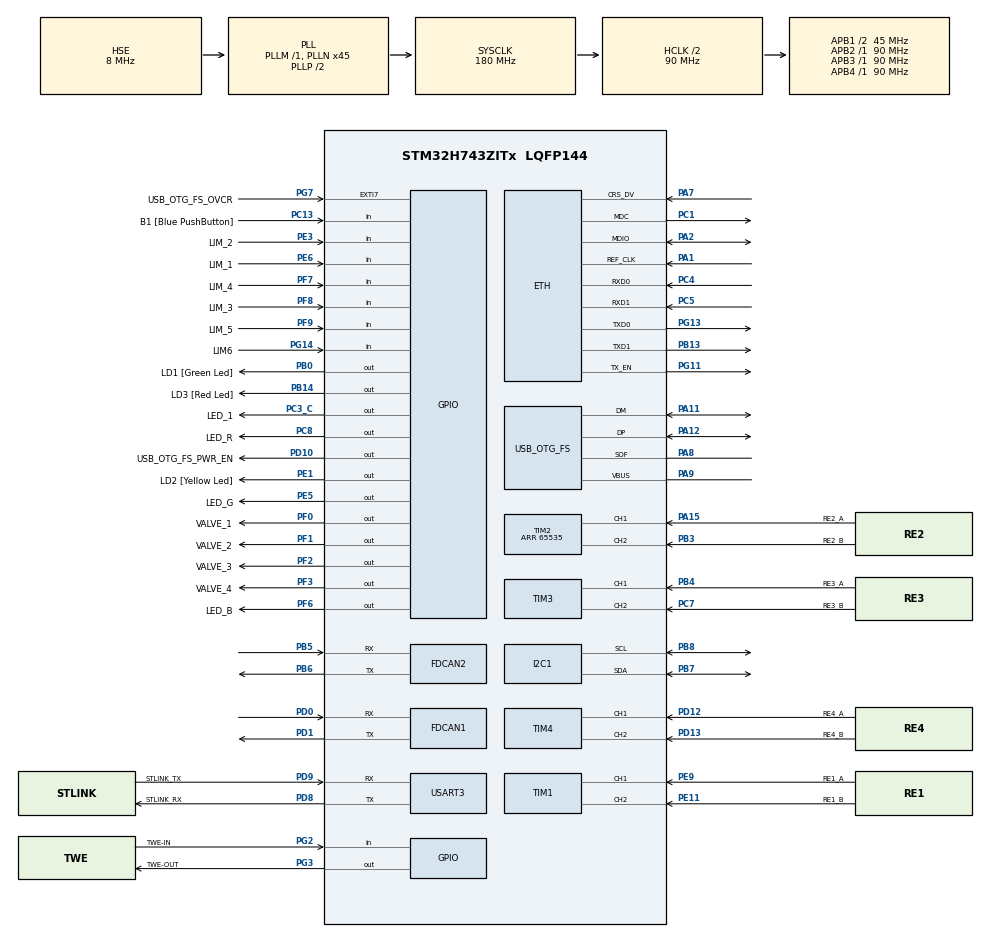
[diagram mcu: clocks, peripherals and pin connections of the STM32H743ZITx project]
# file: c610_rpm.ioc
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ETH.MediaInterface=HAL_ETH_RMII_MODE
FDCAN1.CalculateBaudRateNominal=1000000
FDCAN1.CalculateTimeBitNominal=1000
FDCAN1.CalculateTimeQuantumNominal=50.0
FDCAN1.DataSyncJumpWidth=4
FDCAN1.NominalPrescaler=3
FDCAN1.NominalSyncJumpWidth=4
FDCAN1.NominalTimeSeg1=12
FDCAN1.NominalTimeSeg2=7
FDCAN1.RxFifo0ElmtsNbr=1
FDCAN1.TxFifoQueueElmtsNbr=10
FDCAN2.CalculateBaudRateNominal=1000000
FDCAN2.CalculateTimeBitNominal=1000
FDCAN2.CalculateTimeQuantumNominal=50.0
FDCAN2.NominalPrescaler=3
FDCAN2.NominalTimeSeg1=12
FDCAN2.NominalTimeSeg2=7
FDCAN2.RxFifo0ElmtsNbr=1
FDCAN2.TxFifoQueueElmtsNbr=10
I2C1.Timing=0xC0000E12
Mcu.Family=STM32H7
Mcu.Name=STM32H743ZITx
Mcu.Package=LQFP144
NVIC.FDCAN1_IT0_IRQn=true\:0\:0\:false\:false\:true\:true\:true\:true
NVIC.FDCAN2_IT0_IRQn=true\:0\:0\:false\:false\:true\:true\:true\:true
NVIC.PriorityGroup=NVIC_PRIORITYGROUP_4
NVIC.TIM7_IRQn=true\:0\:0\:false\:false\:true\:true\:true\:true
PA1.Mode=RMII
PA1.Signal=ETH_REF_CLK
PA11.Mode=Device_Only
PA11.Signal=USB_OTG_FS_DM
PA12.Mode=Device_Only
PA12.Signal=USB_OTG_FS_DP
PA15\ (JTDI).GPIO_Label=RE2_A
PA15\ (JTDI).Signal=S_TIM2_CH1_ETR
PA2.Mode=RMII
PA2.Signal=ETH_MDIO
PA7.Mode=RMII
PA7.Signal=ETH_CRS_DV
PA8.Mode=Activate_SOF_FS
PA8.Signal=USB_OTG_FS_SOF
PA9.Mode=Activate_VBUS
PA9.Signal=USB_OTG_FS_VBUS
PB0.GPIO_Label=LD1 [Green Led]
PB0.Signal=GPIO_Output
PB13.Mode=RMII
PB13.Signal=ETH_TXD1
PB14.GPIO_Label=LD3 [Red Led]
PB14.Signal=GPIO_Output
PB3\ (JTDO/TRACESWO).GPIO_Label=RE2_B
PB3\ (JTDO/TRACESWO).Signal=S_TIM2_CH2
PB4\ (NJTRST).GPIO_Label=RE3_A
PB4\ (NJTRST).Signal=S_TIM3_CH1
PB5.Mode=FDCAN_Activate
PB5.Signal=FDCAN2_RX
PB6.Mode=FDCAN_Activate
PB6.Signal=FDCAN2_TX
PB7.Mode=I2C
PB7.Signal=I2C1_SDA
PB8.Mode=I2C
PB8.Signal=I2C1_SCL
PC1.Mode=RMII
PC1.Signal=ETH_MDC
PC13.GPIO_Label=B1 [Blue PushButton]
PC13.Signal=GPIO_Input
PC14-OSC32_IN\ (OSC32_IN).Mode=LSE-External-Oscillator
PC14-OSC32_IN\ (OSC32_IN).Signal=RCC_OSC32_IN
PC15-OSC32_OUT\ (OSC32_OUT).Mode=LSE-External-Oscillator
PC15-OSC32_OUT\ (OSC32_OUT).Signal=RCC_OSC32_OUT
PC3_C.GPIO_Label=LED_1
PC3_C.Signal=GPIO_Output
PC4.Mode=RMII
PC4.Signal=ETH_RXD0
PC5.Mode=RMII
PC5.Signal=ETH_RXD1
PC7.GPIO_Label=RE3_B
PC7.Signal=S_TIM3_CH2
PC8.GPIO_Label=LED_R
PC8.Signal=GPIO_Output
PD0.Mode=FDCAN_Activate
PD0.Signal=FDCAN1_RX
PD1.Mode=FDCAN_Activate
PD1.Signal=FDCAN1_TX
PD10.GPIO_Label=USB_OTG_FS_PWR_EN
PD10.Signal=GPIO_Output
PD12.GPIO_Label=RE4_A
PD12.Signal=S_TIM4_CH1
PD13.GPIO_Label=RE4_B
PD13.Signal=S_TIM4_CH2
PD8.GPIO_Label=STLINK_RX
PD8.Mode=Asynchronous
PD8.Signal=USART3_TX
PD9.GPIO_Label=STLINK_TX
PD9.Mode=Asynchronous
PD9.Signal=USART3_RX
PE1.GPIO_Label=LD2 [Yellow Led]
PE1.Signal=GPIO_Output
PE11.GPIO_Label=RE1_B
PE11.Signal=S_TIM1_CH2
PE3.GPIO_Label=LIM_2
PE3.Signal=GPIO_Input
PE5.GPIO_Label=LED_G
PE5.Signal=GPIO_Output
PE6.GPIO_Label=LIM_1
PE6.Signal=GPIO_Input
PE9.GPIO_Label=RE1_A
PE9.Signal=S_TIM1_CH1
PF0.GPIO_Label=VALVE_1
PF0.Signal=GPIO_Output
PF1.GPIO_Label=VALVE_2
PF1.Signal=GPIO_Output
PF2.GPIO_Label=VALVE_3
PF2.Signal=GPIO_Output
PF3.GPIO_Label=VALVE_4
PF3.Signal=GPIO_Output
PF6.GPIO_Label=LED_B
PF6.Signal=GPIO_Output
PF7.GPIO_Label=LIM_4
PF7.Signal=GPIO_Input
PF8.GPIO_Label=LIM_3
PF8.Signal=GPIO_Input
PF9.GPIO_Label=LIM_5
PF9.Signal=GPIO_Input
PG11.Mode=RMII
PG11.Signal=ETH_TX_EN
PG13.Mode=RMII
PG13.Signal=ETH_TXD0
PG14.GPIO_Label=LIM6
PG14.Signal=GPIO_Input
PG2.GPIO_Label=TWE-IN
PG2.Signal=GPIO_Input
PG3.GPIO_Label=TWE-OUT
PG3.Signal=GPIO_Output
PG7.GPIO_Label=USB_OTG_FS_OVCR
PG7.Signal=GPXTI7
PH0-OSC_IN\ (PH0).Mode=HSE-External-Clock-Source
PH0-OSC_IN\ (PH0).Signal=RCC_OSC_IN
PH1-OSC_OUT\ (PH1).Signal=RCC_OSC_OUT
ProjectManager.HeapSize=0x200
ProjectManager.StackSize=0x400
ProjectManager.TargetToolchain=STM32CubeIDE
RCC.ADCFreq_Value=16125000
RCC.APB1Freq_Value=45000000
RCC.APB2Freq_Value=90000000
RCC.APB3Freq_Value=90000000
RCC.APB4Freq_Value=90000000
RCC.CortexFreq_Value=180000000
RCC.D2PPRE1=RCC_APB1_DIV2
RCC.DIVM1=1
RCC.DIVN1=45
RCC.DIVQ1=6
RCC.HCLKFreq_Value=90000000
RCC.HPRE=RCC_HCLK_DIV2
RCC.HSE_VALUE=8000000
RCC.PLL2FRACN=0
RCC.PLL3FRACN=0
RCC.PLLFRACN=0
RCC.PWR_Regulator_Voltage_Scale=PWR_REGULATOR_VOLTAGE_SCALE2
RCC.SYSCLKFreq_VALUE=180000000
RCC.SYSCLKSource=RCC_SYSCLKSOURCE_PLLCLK
RCC.USBFreq_Value=60000000
SH.S_TIM1_CH1.0=TIM1_CH1,Encoder_Interface
SH.S_TIM1_CH2.0=TIM1_CH2,Encoder_Interface
SH.S_TIM2_CH1_ETR.0=TIM2_CH1,Encoder_Interface
SH.S_TIM2_CH2.0=TIM2_CH2,Encoder_Interface
SH.S_TIM3_CH1.0=TIM3_CH1,Encoder_Interface
SH.S_TIM3_CH2.0=TIM3_CH2,Encoder_Interface
SH.S_TIM4_CH1.0=TIM4_CH1,Encoder_Interface
SH.S_TIM4_CH2.0=TIM4_CH2,Encoder_Interface
TIM1.EncoderMode=TIM_ENCODERMODE_TI12
TIM2.EncoderMode=TIM_ENCODERMODE_TI12
TIM2.Period=65535
TIM3.EncoderMode=TIM_ENCODERMODE_TI12
TIM4.EncoderMode=TIM_ENCODERMODE_TI12
TIM7.Period=30000-1
TIM7.Prescaler=9000-1
USART3.VirtualMode-Asynchronous=VM_ASYNC
USB_OTG_FS.VirtualMode=Device_Only
VP_TIM7_VS_ClockSourceINT.Mode=Enable_Timer
board=NUCLEO-H743ZI2

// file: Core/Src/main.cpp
/* USER CODE BEGIN Header */
/**
  ******************************************************************************
  * @file           : main.c
  * @brief          : Main program body
  ******************************************************************************
  * @attention
  *
  * Copyright (c) 2024 STMicroelectronics.
  * All rights reserved.
  *
  * This software is licensed under terms that can be found in the LICENSE file
  * in the root directory of this software component.
  * If no LICENSE file comes with this software, it is provided AS-IS.
  *
  ******************************************************************************
  */
/* USER CODE END Header */
#include "main.h"
#include "string.h"

/* USER CODE BEGIN Includes */
#include "user_code.hpp"
/* USER CODE END Includes */

#if defined ( __ICCARM__ ) /*!< IAR Compiler */
#pragma location=0x30000000
ETH_DMADescTypeDef  DMARxDscrTab[ETH_RX_DESC_CNT]; /* Ethernet Rx DMA Descriptors */
#pragma location=0x30000200
ETH_DMADescTypeDef  DMATxDscrTab[ETH_TX_DESC_CNT]; /* Ethernet Tx DMA Descriptors */

#elif defined ( __CC_ARM )  /* MDK ARM Compiler */

__attribute__((at(0x30000000))) ETH_DMADescTypeDef  DMARxDscrTab[ETH_RX_DESC_CNT]; /* Ethernet Rx DMA Descriptors */
__attribute__((at(0x30000200))) ETH_DMADescTypeDef  DMATxDscrTab[ETH_TX_DESC_CNT]; /* Ethernet Tx DMA Descriptors */

#elif defined ( __GNUC__ ) /* GNU Compiler */
ETH_DMADescTypeDef DMARxDscrTab[ETH_RX_DESC_CNT] __attribute__((section(".RxDecripSection"))); /* Ethernet Rx DMA Descriptors */
ETH_DMADescTypeDef DMATxDscrTab[ETH_TX_DESC_CNT] __attribute__((section(".TxDecripSection")));   /* Ethernet Tx DMA Descriptors */

#endif

ETH_TxPacketConfig TxConfig;

ETH_HandleTypeDef heth;

FDCAN_HandleTypeDef hfdcan1;
FDCAN_HandleTypeDef hfdcan2;

I2C_HandleTypeDef hi2c1;

TIM_HandleTypeDef htim1;
TIM_HandleTypeDef htim2;
TIM_HandleTypeDef htim3;
TIM_HandleTypeDef htim4;
TIM_HandleTypeDef htim7;

UART_HandleTypeDef huart3;

PCD_HandleTypeDef hpcd_USB_OTG_FS;

void SystemClock_Config(void);
static void MX_GPIO_Init(void);
static void MX_ETH_Init(void);
static void MX_USART3_UART_Init(void);
static void MX_USB_OTG_FS_PCD_Init(void);
static void MX_FDCAN1_Init(void);
static void MX_FDCAN2_Init(void);
static void MX_TIM1_Init(void);
static void MX_TIM2_Init(void);
static void MX_TIM3_Init(void);
static void MX_TIM4_Init(void);
static void MX_I2C1_Init(void);
static void MX_TIM7_Init(void);

/* USER CODE BEGIN 0 */
//can_rx
uint32_t can1_rx_id;
uint8_t can1_rx_data[8];
uint32_t can2_rx_id;
uint8_t can2_rx_data[8];

//classes (grobal scope)
robomas_encoder encoders[3];
pid_control pid_position[3] = {
  pid_control(0.50f, 0.05f),
  pid_control(0.0f, 0.0f),
  pid_control(0.0f, 0.0f)
};
pid_control pid_speed[3] = {
  pid_control(67.5f, 813.0f),
  pid_control(0.0f, 0.0f),
  pid_control(0.0f, 0.0f)
};
robomas_rotation robomas(&hfdcan2);

int test_pwm = 250;

/* USER CODE END 0 */

int main(void)
{

  /* MCU Configuration--------------------------------------------------------*/

  /* Reset of all peripherals, Initializes the Flash interface and the Systick. */
  HAL_Init();

  /* Configure the system clock */
  SystemClock_Config();

  /* Initialize all configured peripherals */
  MX_GPIO_Init();
  MX_ETH_Init();
  MX_USART3_UART_Init();
  MX_USB_OTG_FS_PCD_Init();
  MX_FDCAN1_Init();
  MX_FDCAN2_Init();
  MX_TIM1_Init();
  MX_TIM2_Init();
  MX_TIM3_Init();
  MX_TIM4_Init();
  MX_I2C1_Init();
  MX_TIM7_Init();
  /* USER CODE BEGIN 2 */
  setup();
  uint32_t tickstart = 0, while_loop_time = 5; //loop timer (ms)
  /* USER CODE END 2 */

  /* Infinite loop */
  /* USER CODE BEGIN WHILE */
  while (1)
  {
    if( !((HAL_GetTick() - tickstart) < while_loop_time) ){
		  tickstart = HAL_GetTick();
		  loop();
	  }
    /* USER CODE END WHILE */

  }
}

void SystemClock_Config(void)
{
  RCC_OscInitTypeDef RCC_OscInitStruct = {0};
  RCC_ClkInitTypeDef RCC_ClkInitStruct = {0};

  /** Supply configuration update enable
  */
  HAL_PWREx_ConfigSupply(PWR_LDO_SUPPLY);

  /** Configure the main internal regulator output voltage
  */
  __HAL_PWR_VOLTAGESCALING_CONFIG(PWR_REGULATOR_VOLTAGE_SCALE2);

  while(!__HAL_PWR_GET_FLAG(PWR_FLAG_VOSRDY)) {}

  /** Initializes the RCC Oscillators according to the specified parameters
  * in the RCC_OscInitTypeDef structure.
  */
  RCC_OscInitStruct.OscillatorType = RCC_OSCILLATORTYPE_HSE;
  RCC_OscInitStruct.HSEState = RCC_HSE_BYPASS;
  RCC_OscInitStruct.PLL.PLLState = RCC_PLL_ON;
  RCC_OscInitStruct.PLL.PLLSource = RCC_PLLSOURCE_HSE;
  RCC_OscInitStruct.PLL.PLLM = 1;
  RCC_OscInitStruct.PLL.PLLN = 45;
  RCC_OscInitStruct.PLL.PLLP = 2;
  RCC_OscInitStruct.PLL.PLLQ = 6;
  RCC_OscInitStruct.PLL.PLLR = 2;
  RCC_OscInitStruct.PLL.PLLRGE = RCC_PLL1VCIRANGE_3;
  RCC_OscInitStruct.PLL.PLLVCOSEL = RCC_PLL1VCOWIDE;
  RCC_OscInitStruct.PLL.PLLFRACN = 0;
  if (HAL_RCC_OscConfig(&RCC_OscInitStruct) != HAL_OK)
  {
    Error_Handler();
  }

  /** Initializes the CPU, AHB and APB buses clocks
  */
  RCC_ClkInitStruct.ClockType = RCC_CLOCKTYPE_HCLK|RCC_CLOCKTYPE_SYSCLK
                              |RCC_CLOCKTYPE_PCLK1|RCC_CLOCKTYPE_PCLK2
                              |RCC_CLOCKTYPE_D3PCLK1|RCC_CLOCKTYPE_D1PCLK1;
  RCC_ClkInitStruct.SYSCLKSource = RCC_SYSCLKSOURCE_PLLCLK;
  RCC_ClkInitStruct.SYSCLKDivider = RCC_SYSCLK_DIV1;
  RCC_ClkInitStruct.AHBCLKDivider = RCC_HCLK_DIV2;
  RCC_ClkInitStruct.APB3CLKDivider = RCC_APB3_DIV1;
  RCC_ClkInitStruct.APB1CLKDivider = RCC_APB1_DIV2;
  RCC_ClkInitStruct.APB2CLKDivider = RCC_APB2_DIV1;
  RCC_ClkInitStruct.APB4CLKDivider = RCC_APB4_DIV1;

  if (HAL_RCC_ClockConfig(&RCC_ClkInitStruct, FLASH_LATENCY_1) != HAL_OK)
  {
    Error_Handler();
  }
}

static void MX_ETH_Init(void)
{

   static uint8_t MACAddr[6];

  heth.Instance = ETH;
  MACAddr[0] = 0x00;
  MACAddr[1] = 0x80;
  MACAddr[2] = 0xE1;
  MACAddr[3] = 0x00;
  MACAddr[4] = 0x00;
  MACAddr[5] = 0x00;
  heth.Init.MACAddr = &MACAddr[0];
  heth.Init.MediaInterface = HAL_ETH_RMII_MODE;
  heth.Init.TxDesc = DMATxDscrTab;
  heth.Init.RxDesc = DMARxDscrTab;
  heth.Init.RxBuffLen = 1524;

  if (HAL_ETH_Init(&heth) != HAL_OK)
  {
    Error_Handler();
  }

  memset(&TxConfig, 0 , sizeof(ETH_TxPacketConfig));
  TxConfig.Attributes = ETH_TX_PACKETS_FEATURES_CSUM | ETH_TX_PACKETS_FEATURES_CRCPAD;
  TxConfig.ChecksumCtrl = ETH_CHECKSUM_IPHDR_PAYLOAD_INSERT_PHDR_CALC;
  TxConfig.CRCPadCtrl = ETH_CRC_PAD_INSERT;

}

static void MX_FDCAN1_Init(void)
{

  hfdcan1.Instance = FDCAN1;
  hfdcan1.Init.FrameFormat = FDCAN_FRAME_CLASSIC;
  hfdcan1.Init.Mode = FDCAN_MODE_NORMAL;
  hfdcan1.Init.AutoRetransmission = DISABLE;
  hfdcan1.Init.TransmitPause = DISABLE;
  hfdcan1.Init.ProtocolException = DISABLE;
  hfdcan1.Init.NominalPrescaler = 3;
  hfdcan1.Init.NominalSyncJumpWidth = 4;
  hfdcan1.Init.NominalTimeSeg1 = 12;
  hfdcan1.Init.NominalTimeSeg2 = 7;
  hfdcan1.Init.DataPrescaler = 1;
  hfdcan1.Init.DataSyncJumpWidth = 4;
  hfdcan1.Init.DataTimeSeg1 = 1;
  hfdcan1.Init.DataTimeSeg2 = 1;
  hfdcan1.Init.MessageRAMOffset = 0;
  hfdcan1.Init.StdFiltersNbr = 0;
  hfdcan1.Init.ExtFiltersNbr = 0;
  hfdcan1.Init.RxFifo0ElmtsNbr = 1;
  hfdcan1.Init.RxFifo0ElmtSize = FDCAN_DATA_BYTES_8;
  hfdcan1.Init.RxFifo1ElmtsNbr = 0;
  hfdcan1.Init.RxFifo1ElmtSize = FDCAN_DATA_BYTES_8;
  hfdcan1.Init.RxBuffersNbr = 0;
  hfdcan1.Init.RxBufferSize = FDCAN_DATA_BYTES_8;
  hfdcan1.Init.TxEventsNbr = 0;
  hfdcan1.Init.TxBuffersNbr = 0;
  hfdcan1.Init.TxFifoQueueElmtsNbr = 10;
  hfdcan1.Init.TxFifoQueueMode = FDCAN_TX_FIFO_OPERATION;
  hfdcan1.Init.TxElmtSize = FDCAN_DATA_BYTES_8;
  if (HAL_FDCAN_Init(&hfdcan1) != HAL_OK)
  {
    Error_Handler();
  }

}

static void MX_FDCAN2_Init(void)
{

  hfdcan2.Instance = FDCAN2;
  hfdcan2.Init.FrameFormat = FDCAN_FRAME_CLASSIC;
  hfdcan2.Init.Mode = FDCAN_MODE_NORMAL;
  hfdcan2.Init.AutoRetransmission = DISABLE;
  hfdcan2.Init.TransmitPause = DISABLE;
  hfdcan2.Init.ProtocolException = DISABLE;
  hfdcan2.Init.NominalPrescaler = 3;
  hfdcan2.Init.NominalSyncJumpWidth = 1;
  hfdcan2.Init.NominalTimeSeg1 = 12;
  hfdcan2.Init.NominalTimeSeg2 = 7;
  hfdcan2.Init.DataPrescaler = 1;
  hfdcan2.Init.DataSyncJumpWidth = 1;
  hfdcan2.Init.DataTimeSeg1 = 1;
  hfdcan2.Init.DataTimeSeg2 = 1;
  hfdcan2.Init.MessageRAMOffset = 0;
  hfdcan2.Init.StdFiltersNbr = 0;
  hfdcan2.Init.ExtFiltersNbr = 0;
  hfdcan2.Init.RxFifo0ElmtsNbr = 1;
  hfdcan2.Init.RxFifo0ElmtSize = FDCAN_DATA_BYTES_8;
  hfdcan2.Init.RxFifo1ElmtsNbr = 0;
  hfdcan2.Init.RxFifo1ElmtSize = FDCAN_DATA_BYTES_8;
  hfdcan2.Init.RxBuffersNbr = 0;
  hfdcan2.Init.RxBufferSize = FDCAN_DATA_BYTES_8;
  hfdcan2.Init.TxEventsNbr = 0;
  hfdcan2.Init.TxBuffersNbr = 0;
  hfdcan2.Init.TxFifoQueueElmtsNbr = 10;
  hfdcan2.Init.TxFifoQueueMode = FDCAN_TX_FIFO_OPERATION;
  hfdcan2.Init.TxElmtSize = FDCAN_DATA_BYTES_8;
  if (HAL_FDCAN_Init(&hfdcan2) != HAL_OK)
  {
    Error_Handler();
  }

}

static void MX_I2C1_Init(void)
{

  hi2c1.Instance = I2C1;
  hi2c1.Init.Timing = 0xC0000E12;
  hi2c1.Init.OwnAddress1 = 0;
  hi2c1.Init.AddressingMode = I2C_ADDRESSINGMODE_7BIT;
  hi2c1.Init.DualAddressMode = I2C_DUALADDRESS_DISABLE;
  hi2c1.Init.OwnAddress2 = 0;
  hi2c1.Init.OwnAddress2Masks = I2C_OA2_NOMASK;
  hi2c1.Init.GeneralCallMode = I2C_GENERALCALL_DISABLE;
  hi2c1.Init.NoStretchMode = I2C_NOSTRETCH_DISABLE;
  if (HAL_I2C_Init(&hi2c1) != HAL_OK)
  {
    Error_Handler();
  }

  /** Configure Analogue filter
  */
  if (HAL_I2CEx_ConfigAnalogFilter(&hi2c1, I2C_ANALOGFILTER_ENABLE) != HAL_OK)
  {
    Error_Handler();
  }

  /** Configure Digital filter
  */
  if (HAL_I2CEx_ConfigDigitalFilter(&hi2c1, 0) != HAL_OK)
  {
    Error_Handler();
  }

}

static void MX_TIM1_Init(void)
{

  TIM_Encoder_InitTypeDef sConfig = {0};
  TIM_MasterConfigTypeDef sMasterConfig = {0};

  htim1.Instance = TIM1;
  htim1.Init.Prescaler = 0;
  htim1.Init.CounterMode = TIM_COUNTERMODE_UP;
  htim1.Init.Period = 65535;
  htim1.Init.ClockDivision = TIM_CLOCKDIVISION_DIV1;
  htim1.Init.RepetitionCounter = 0;
  htim1.Init.AutoReloadPreload = TIM_AUTORELOAD_PRELOAD_DISABLE;
  sConfig.EncoderMode = TIM_ENCODERMODE_TI12;
  sConfig.IC1Polarity = TIM_ICPOLARITY_RISING;
  sConfig.IC1Selection = TIM_ICSELECTION_DIRECTTI;
  sConfig.IC1Prescaler = TIM_ICPSC_DIV1;
  sConfig.IC1Filter = 0;
  sConfig.IC2Polarity = TIM_ICPOLARITY_RISING;
  sConfig.IC2Selection = TIM_ICSELECTION_DIRECTTI;
  sConfig.IC2Prescaler = TIM_ICPSC_DIV1;
  sConfig.IC2Filter = 0;
  if (HAL_TIM_Encoder_Init(&htim1, &sConfig) != HAL_OK)
  {
    Error_Handler();
  }
  sMasterConfig.MasterOutputTrigger = TIM_TRGO_RESET;
  sMasterConfig.MasterOutputTrigger2 = TIM_TRGO2_RESET;
  sMasterConfig.MasterSlaveMode = TIM_MASTERSLAVEMODE_DISABLE;
  if (HAL_TIMEx_MasterConfigSynchronization(&htim1, &sMasterConfig) != HAL_OK)
  {
    Error_Handler();
  }

}

static void MX_TIM2_Init(void)
{

  TIM_Encoder_InitTypeDef sConfig = {0};
  TIM_MasterConfigTypeDef sMasterConfig = {0};

  htim2.Instance = TIM2;
  htim2.Init.Prescaler = 0;
  htim2.Init.CounterMode = TIM_COUNTERMODE_UP;
  htim2.Init.Period = 65535;
  htim2.Init.ClockDivision = TIM_CLOCKDIVISION_DIV1;
  htim2.Init.AutoReloadPreload = TIM_AUTORELOAD_PRELOAD_DISABLE;
  sConfig.EncoderMode = TIM_ENCODERMODE_TI12;
  sConfig.IC1Polarity = TIM_ICPOLARITY_RISING;
  sConfig.IC1Selection = TIM_ICSELECTION_DIRECTTI;
  sConfig.IC1Prescaler = TIM_ICPSC_DIV1;
  sConfig.IC1Filter = 0;
  sConfig.IC2Polarity = TIM_ICPOLARITY_RISING;
  sConfig.IC2Selection = TIM_ICSELECTION_DIRECTTI;
  sConfig.IC2Prescaler = TIM_ICPSC_DIV1;
  sConfig.IC2Filter = 0;
  if (HAL_TIM_Encoder_Init(&htim2, &sConfig) != HAL_OK)
  {
    Error_Handler();
  }
  sMasterConfig.MasterOutputTrigger = TIM_TRGO_RESET;
  sMasterConfig.MasterSlaveMode = TIM_MASTERSLAVEMODE_DISABLE;
  if (HAL_TIMEx_MasterConfigSynchronization(&htim2, &sMasterConfig) != HAL_OK)
  {
    Error_Handler();
  }

}

static void MX_TIM3_Init(void)
{

  TIM_Encoder_InitTypeDef sConfig = {0};
  TIM_MasterConfigTypeDef sMasterConfig = {0};

  htim3.Instance = TIM3;
  htim3.Init.Prescaler = 0;
  htim3.Init.CounterMode = TIM_COUNTERMODE_UP;
  htim3.Init.Period = 65535;
  htim3.Init.ClockDivision = TIM_CLOCKDIVISION_DIV1;
  htim3.Init.AutoReloadPreload = TIM_AUTORELOAD_PRELOAD_DISABLE;
  sConfig.EncoderMode = TIM_ENCODERMODE_TI12;
  sConfig.IC1Polarity = TIM_ICPOLARITY_RISING;
  sConfig.IC1Selection = TIM_ICSELECTION_DIRECTTI;
  sConfig.IC1Prescaler = TIM_ICPSC_DIV1;
  sConfig.IC1Filter = 0;
  sConfig.IC2Polarity = TIM_ICPOLARITY_RISING;
  sConfig.IC2Selection = TIM_ICSELECTION_DIRECTTI;
  sConfig.IC2Prescaler = TIM_ICPSC_DIV1;
  sConfig.IC2Filter = 0;
  if (HAL_TIM_Encoder_Init(&htim3, &sConfig) != HAL_OK)
  {
    Error_Handler();
  }
  sMasterConfig.MasterOutputTrigger = TIM_TRGO_RESET;
  sMasterConfig.MasterSlaveMode = TIM_MASTERSLAVEMODE_DISABLE;
  if (HAL_TIMEx_MasterConfigSynchronization(&htim3, &sMasterConfig) != HAL_OK)
  {
    Error_Handler();
  }

}

static void MX_TIM4_Init(void)
{

  TIM_Encoder_InitTypeDef sConfig = {0};
  TIM_MasterConfigTypeDef sMasterConfig = {0};

  htim4.Instance = TIM4;
  htim4.Init.Prescaler = 0;
  htim4.Init.CounterMode = TIM_COUNTERMODE_UP;
  htim4.Init.Period = 65535;
  htim4.Init.ClockDivision = TIM_CLOCKDIVISION_DIV1;
  htim4.Init.AutoReloadPreload = TIM_AUTORELOAD_PRELOAD_DISABLE;
  sConfig.EncoderMode = TIM_ENCODERMODE_TI12;
  sConfig.IC1Polarity = TIM_ICPOLARITY_RISING;
  sConfig.IC1Selection = TIM_ICSELECTION_DIRECTTI;
  sConfig.IC1Prescaler = TIM_ICPSC_DIV1;
  sConfig.IC1Filter = 0;
  sConfig.IC2Polarity = TIM_ICPOLARITY_RISING;
  sConfig.IC2Selection = TIM_ICSELECTION_DIRECTTI;
  sConfig.IC2Prescaler = TIM_ICPSC_DIV1;
  sConfig.IC2Filter = 0;
  if (HAL_TIM_Encoder_Init(&htim4, &sConfig) != HAL_OK)
  {
    Error_Handler();
  }
  sMasterConfig.MasterOutputTrigger = TIM_TRGO_RESET;
  sMasterConfig.MasterSlaveMode = TIM_MASTERSLAVEMODE_DISABLE;
  if (HAL_TIMEx_MasterConfigSynchronization(&htim4, &sMasterConfig) != HAL_OK)
  {
    Error_Handler();
  }

}

static void MX_TIM7_Init(void)
{

  TIM_MasterConfigTypeDef sMasterConfig = {0};

  htim7.Instance = TIM7;
  htim7.Init.Prescaler = 9000-1;
  htim7.Init.CounterMode = TIM_COUNTERMODE_UP;
  htim7.Init.Period = 30000-1;
  htim7.Init.AutoReloadPreload = TIM_AUTORELOAD_PRELOAD_DISABLE;
  if (HAL_TIM_Base_Init(&htim7) != HAL_OK)
  {
    Error_Handler();
  }
  sMasterConfig.MasterOutputTrigger = TIM_TRGO_RESET;
  sMasterConfig.MasterSlaveMode = TIM_MASTERSLAVEMODE_DISABLE;
  if (HAL_TIMEx_MasterConfigSynchronization(&htim7, &sMasterConfig) != HAL_OK)
  {
    Error_Handler();
  }

}

static void MX_USART3_UART_Init(void)
{

  huart3.Instance = USART3;
  huart3.Init.BaudRate = 115200;
  huart3.Init.WordLength = UART_WORDLENGTH_8B;
  huart3.Init.StopBits = UART_STOPBITS_1;
  huart3.Init.Parity = UART_PARITY_NONE;
  huart3.Init.Mode = UART_MODE_TX_RX;
  huart3.Init.HwFlowCtl = UART_HWCONTROL_NONE;
  huart3.Init.OverSampling = UART_OVERSAMPLING_16;
  huart3.Init.OneBitSampling = UART_ONE_BIT_SAMPLE_DISABLE;
  huart3.Init.ClockPrescaler = UART_PRESCALER_DIV1;
  huart3.AdvancedInit.AdvFeatureInit = UART_ADVFEATURE_NO_INIT;
  if (HAL_UART_Init(&huart3) != HAL_OK)
  {
    Error_Handler();
  }
  if (HAL_UARTEx_SetTxFifoThreshold(&huart3, UART_TXFIFO_THRESHOLD_1_8) != HAL_OK)
  {
    Error_Handler();
  }
  if (HAL_UARTEx_SetRxFifoThreshold(&huart3, UART_RXFIFO_THRESHOLD_1_8) != HAL_OK)
  {
    Error_Handler();
  }
  if (HAL_UARTEx_DisableFifoMode(&huart3) != HAL_OK)
  {
    Error_Handler();
  }

}

static void MX_USB_OTG_FS_PCD_Init(void)
{

  hpcd_USB_OTG_FS.Instance = USB_OTG_FS;
  hpcd_USB_OTG_FS.Init.dev_endpoints = 9;
  hpcd_USB_OTG_FS.Init.speed = PCD_SPEED_FULL;
  hpcd_USB_OTG_FS.Init.dma_enable = DISABLE;
  hpcd_USB_OTG_FS.Init.phy_itface = PCD_PHY_EMBEDDED;
  hpcd_USB_OTG_FS.Init.Sof_enable = ENABLE;
  hpcd_USB_OTG_FS.Init.low_power_enable = DISABLE;
  hpcd_USB_OTG_FS.Init.lpm_enable = DISABLE;
  hpcd_USB_OTG_FS.Init.battery_charging_enable = ENABLE;
  hpcd_USB_OTG_FS.Init.vbus_sensing_enable = ENABLE;
  hpcd_USB_OTG_FS.Init.use_dedicated_ep1 = DISABLE;
  if (HAL_PCD_Init(&hpcd_USB_OTG_FS) != HAL_OK)
  {
    Error_Handler();
  }

}

static void MX_GPIO_Init(void)
{
  GPIO_InitTypeDef GPIO_InitStruct = {0};

  /* GPIO Ports Clock Enable */
  __HAL_RCC_GPIOE_CLK_ENABLE();
  __HAL_RCC_GPIOC_CLK_ENABLE();
  __HAL_RCC_GPIOF_CLK_ENABLE();
  __HAL_RCC_GPIOH_CLK_ENABLE();
  __HAL_RCC_GPIOA_CLK_ENABLE();
  __HAL_RCC_GPIOB_CLK_ENABLE();
  __HAL_RCC_GPIOD_CLK_ENABLE();
  __HAL_RCC_GPIOG_CLK_ENABLE();

  /*Configure GPIO pin Output Level */
  HAL_GPIO_WritePin(GPIOE, LED_G_Pin|LD2_Pin, GPIO_PIN_RESET);

  /*Configure GPIO pin Output Level */
  HAL_GPIO_WritePin(GPIOF, VALVE_1_Pin|VALVE_2_Pin|VALVE_3_Pin|VALVE_4_Pin
                          |LED_B_Pin, GPIO_PIN_RESET);

  /*Configure GPIO pin Output Level */
  HAL_GPIO_WritePin(GPIOC, LED_1_Pin|LED_R_Pin, GPIO_PIN_RESET);

  /*Configure GPIO pin Output Level */
  HAL_GPIO_WritePin(GPIOB, LD1_Pin|LD3_Pin, GPIO_PIN_RESET);

  /*Configure GPIO pin Output Level */
  HAL_GPIO_WritePin(USB_OTG_FS_PWR_EN_GPIO_Port, USB_OTG_FS_PWR_EN_Pin, GPIO_PIN_RESET);

  /*Configure GPIO pin Output Level */
  HAL_GPIO_WritePin(TWE_OUT_GPIO_Port, TWE_OUT_Pin, GPIO_PIN_RESET);

  /*Configure GPIO pins : LIM_2_Pin LIM_1_Pin */
  GPIO_InitStruct.Pin = LIM_2_Pin|LIM_1_Pin;
  GPIO_InitStruct.Mode = GPIO_MODE_INPUT;
  GPIO_InitStruct.Pull = GPIO_NOPULL;
  HAL_GPIO_Init(GPIOE, &GPIO_InitStruct);

  /*Configure GPIO pins : LED_G_Pin LD2_Pin */
  GPIO_InitStruct.Pin = LED_G_Pin|LD2_Pin;
  GPIO_InitStruct.Mode = GPIO_MODE_OUTPUT_PP;
  GPIO_InitStruct.Pull = GPIO_NOPULL;
  GPIO_InitStruct.Speed = GPIO_SPEED_FREQ_LOW;
  HAL_GPIO_Init(GPIOE, &GPIO_InitStruct);

  /*Configure GPIO pin : B1_Pin */
  GPIO_InitStruct.Pin = B1_Pin;
  GPIO_InitStruct.Mode = GPIO_MODE_INPUT;
  GPIO_InitStruct.Pull = GPIO_NOPULL;
  HAL_GPIO_Init(B1_GPIO_Port, &GPIO_InitStruct);

  /*Configure GPIO pins : VALVE_1_Pin VALVE_2_Pin VALVE_3_Pin VALVE_4_Pin
                           LED_B_Pin */
  GPIO_InitStruct.Pin = VALVE_1_Pin|VALVE_2_Pin|VALVE_3_Pin|VALVE_4_Pin
                          |LED_B_Pin;
  GPIO_InitStruct.Mode = GPIO_MODE_OUTPUT_PP;
  GPIO_InitStruct.Pull = GPIO_NOPULL;
  GPIO_InitStruct.Speed = GPIO_SPEED_FREQ_LOW;
  HAL_GPIO_Init(GPIOF, &GPIO_InitStruct);

  /*Configure GPIO pins : LIM_4_Pin LIM_3_Pin LIM_5_Pin */
  GPIO_InitStruct.Pin = LIM_4_Pin|LIM_3_Pin|LIM_5_Pin;
  GPIO_InitStruct.Mode = GPIO_MODE_INPUT;
  GPIO_InitStruct.Pull = GPIO_NOPULL;
  HAL_GPIO_Init(GPIOF, &GPIO_InitStruct);

  /*Configure GPIO pins : LED_1_Pin LED_R_Pin */
  GPIO_InitStruct.Pin = LED_1_Pin|LED_R_Pin;
  GPIO_InitStruct.Mode = GPIO_MODE_OUTPUT_PP;
  GPIO_InitStruct.Pull = GPIO_NOPULL;
  GPIO_InitStruct.Speed = GPIO_SPEED_FREQ_LOW;
  HAL_GPIO_Init(GPIOC, &GPIO_InitStruct);

  /*Configure GPIO pins : LD1_Pin LD3_Pin */
  GPIO_InitStruct.Pin = LD1_Pin|LD3_Pin;
  GPIO_InitStruct.Mode = GPIO_MODE_OUTPUT_PP;
  GPIO_InitStruct.Pull = GPIO_NOPULL;
  GPIO_InitStruct.Speed = GPIO_SPEED_FREQ_LOW;
  HAL_GPIO_Init(GPIOB, &GPIO_InitStruct);

  /*Configure GPIO pin : USB_OTG_FS_PWR_EN_Pin */
  GPIO_InitStruct.Pin = USB_OTG_FS_PWR_EN_Pin;
  GPIO_InitStruct.Mode = GPIO_MODE_OUTPUT_PP;
  GPIO_InitStruct.Pull = GPIO_NOPULL;
  GPIO_InitStruct.Speed = GPIO_SPEED_FREQ_LOW;
  HAL_GPIO_Init(USB_OTG_FS_PWR_EN_GPIO_Port, &GPIO_InitStruct);

  /*Configure GPIO pins : TWE_IN_Pin LIM6_Pin */
  GPIO_InitStruct.Pin = TWE_IN_Pin|LIM6_Pin;
  GPIO_InitStruct.Mode = GPIO_MODE_INPUT;
  GPIO_InitStruct.Pull = GPIO_NOPULL;
  HAL_GPIO_Init(GPIOG, &GPIO_InitStruct);

  /*Configure GPIO pin : TWE_OUT_Pin */
  GPIO_InitStruct.Pin = TWE_OUT_Pin;
  GPIO_InitStruct.Mode = GPIO_MODE_OUTPUT_PP;
  GPIO_InitStruct.Pull = GPIO_NOPULL;
  GPIO_InitStruct.Speed = GPIO_SPEED_FREQ_LOW;
  HAL_GPIO_Init(TWE_OUT_GPIO_Port, &GPIO_InitStruct);

  /*Configure GPIO pin : USB_OTG_FS_OVCR_Pin */
  GPIO_InitStruct.Pin = USB_OTG_FS_OVCR_Pin;
  GPIO_InitStruct.Mode = GPIO_MODE_IT_RISING;
  GPIO_InitStruct.Pull = GPIO_NOPULL;
  HAL_GPIO_Init(USB_OTG_FS_OVCR_GPIO_Port, &GPIO_InitStruct);

}

/* USER CODE BEGIN 4 */
//CAN割り込み
void HAL_FDCAN_RxFifo0Callback(FDCAN_HandleTypeDef *hfdcan, uint32_t RxFifo0ITs){
	FDCAN_RxHeaderTypeDef RxHeader;
	uint8_t RxData[8];
	if(hfdcan->Instance == hfdcan1.Instance){ //CAN1
		if((RxFifo0ITs & FDCAN_IT_RX_FIFO0_NEW_MESSAGE) != RESET){
		  HAL_FDCAN_GetRxMessage(hfdcan, FDCAN_RX_FIFO0, &RxHeader, RxData);
		  can1_rx_id = RxHeader.Identifier;//ID
		  for(int i = 0; i < 8; i++){
			  can1_rx_data[i] = RxData[i];
		  }
		  can1_receive_process();
		}
	}
	if(hfdcan->Instance == hfdcan2.Instance){ //CAN2
		//ロボマスモーターからのフィードバック受信データ
		if((RxFifo0ITs & FDCAN_IT_RX_FIFO0_NEW_MESSAGE) != RESET){
			HAL_FDCAN_GetRxMessage(hfdcan, FDCAN_RX_FIFO0, &RxHeader, RxData);
			can2_rx_id = RxHeader.Identifier;//ID
			for(int i = 0; i < 8; i++){
				can2_rx_data[i] = RxData[i];
			}
			can2_receive_process();
		}
	}
}
/* USER CODE END 4 */

void Error_Handler(void)
{
  __disable_irq();
  while (1)
  {
  }
}
